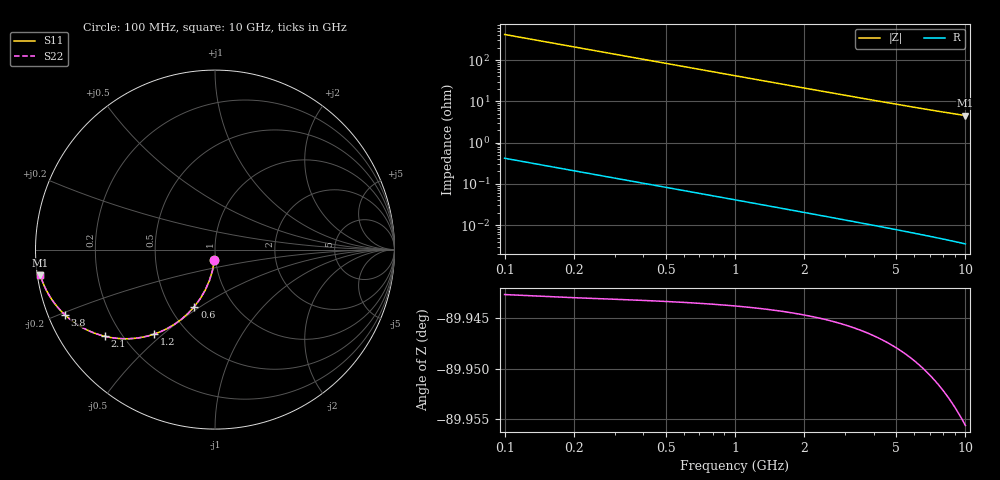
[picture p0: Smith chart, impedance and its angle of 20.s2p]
# Hz S RI R 50.00
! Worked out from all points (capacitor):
!   100 points, 100 MHz to 10 GHz, reference 50 ohm
!   read as one part in shunt: C = 3.81 pF near 100 MHz
!   lowest |Z| = 4.53 ohm at 10 GHz (marker M1)
!   S11 on the Smith chart (normalised r, x): 100 MHz: 0.99, -0.12; 600 MHz: 0.66, -0.47; 1.2 GHz: 0.33, -0.47; 2.1 GHz: 0.14, -0.34; 3.8 GHz: 0.05, -0.21; 10 GHz: 0.01, -0.07
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1e8  -0.0036 -0.0595  0.9963 -0.0598  0.9963 -0.0598  -0.0036 -0.0595
2e8  -0.0142 -0.1178  0.9857 -0.1184  0.9857 -0.1184  -0.0142 -0.1178
3e8  -0.0314 -0.1735  0.9685 -0.1745  0.9685 -0.1745  -0.0314 -0.1735
4e8  -0.0544 -0.2258  0.9455 -0.2271  0.9455 -0.2271  -0.0544 -0.2258
5e8  -0.0825 -0.2739  0.9175 -0.2754  0.9175 -0.2754  -0.0825 -0.2739
6e8  -0.1145 -0.3171  0.8854 -0.319  0.8854 -0.319  -0.1145 -0.3171
7e8  -0.1496 -0.3551  0.8503 -0.3574  0.8503 -0.3574  -0.1496 -0.3551
9e8  -0.2252 -0.4158  0.7747 -0.4187  0.7747 -0.4187  -0.2252 -0.4158
1.2e9  -0.3404 -0.4714  0.6595 -0.4753  0.6595 -0.4753  -0.3404 -0.4714
1.5e9  -0.4462 -0.4942  0.5537 -0.499  0.5537 -0.499  -0.4462 -0.4942
1.8e9  -0.5369 -0.4953  0.463 -0.501  0.463 -0.501  -0.5369 -0.4953
2.1e9  -0.6119 -0.4834  0.388 -0.4902  0.388 -0.4902  -0.6119 -0.4834
2.4e9  -0.673 -0.4647  0.3269 -0.4724  0.3269 -0.4724  -0.673 -0.4647
2.7e9  -0.7225 -0.4429  0.2774 -0.4516  0.2774 -0.4516  -0.7225 -0.4429
3e9  -0.7627 -0.4201  0.2372 -0.4297  0.2372 -0.4297  -0.7627 -0.4201
3.4e9  -0.8049 -0.3902  0.1949 -0.4012  0.1949 -0.4012  -0.8049 -0.3902
3.8e9  -0.8375 -0.3622  0.1624 -0.3745  0.1624 -0.3745  -0.8375 -0.3622
4.4e9  -0.8736 -0.3245  0.1262 -0.3389  0.1262 -0.3389  -0.8736 -0.3245
5.1e9  -0.9029 -0.2871  0.0969 -0.3039  0.0969 -0.3039  -0.9029 -0.2871
6.7e9  -0.9416 -0.2225  0.0581 -0.2449  0.0581 -0.2449  -0.9416 -0.2225
8.4e9  -0.9623 -0.1751  0.0372 -0.2036  0.0372 -0.2036  -0.9623 -0.1751
1e10  -0.9733 -0.1424  0.026 -0.1768  0.026 -0.1768  -0.9733 -0.1424
